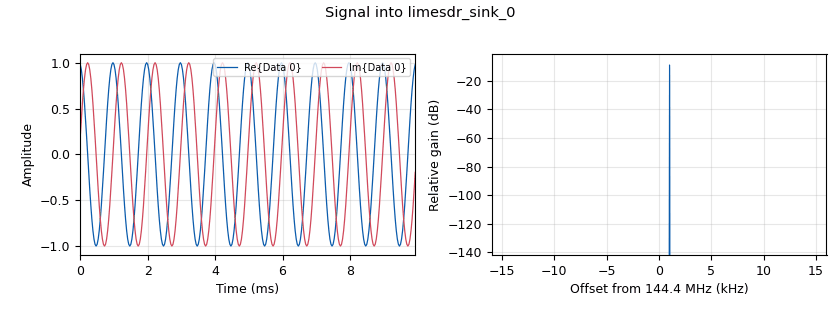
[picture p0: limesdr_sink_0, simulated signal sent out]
options:
  parameters:
    generate_options: no_gui
    id: sine1k
    output_language: python
    run_options: run
    title: Not titled yet
  states: {}

blocks:
- name: samp_rate
  id: variable
  parameters:
    value: '32000'
  states: {}
- name: analog_sig_source_x_0
  id: analog_sig_source_x
  parameters:
    amp: '1'
    freq: '1000'
    offset: '0'
    phase: '0'
    samp_rate: samp_rate
    type: complex
    waveform: analog.GR_COS_WAVE
  states: {}
- name: gain
  id: parameter
  parameters:
    short_id: g
    type: eng_float
    value: '0'
  states: {}
- name: limesdr_sink_0
  id: limesdr_sink
  parameters:
    allow_tcxo_dac: '0'
    channel_mode: '0'
    gain_dB_ch0: gain
    oversample: '0'
    rf_freq: '144400000'
    samp_rate: samp_rate
  states: {}

connections:
- [analog_sig_source_x_0, '0', limesdr_sink_0, '0']

metadata:
  file_format: 1
